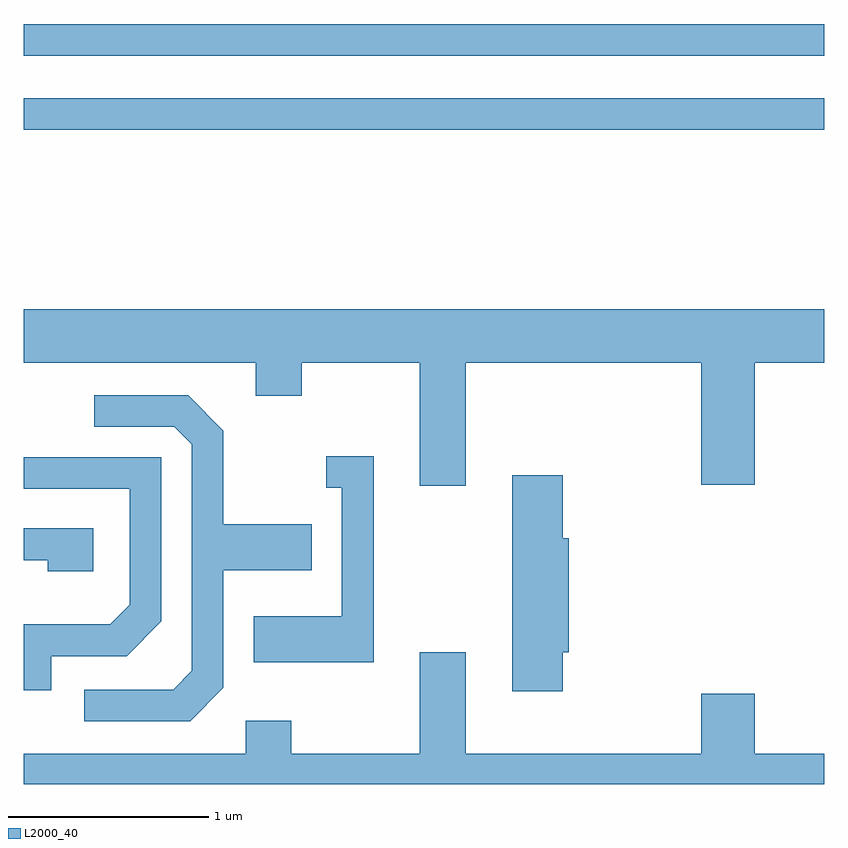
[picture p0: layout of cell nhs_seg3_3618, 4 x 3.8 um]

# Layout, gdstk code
import gdstk
lib = gdstk.Library(unit=1e-6, precision=1e-09)
def R(c, l, rs):  # rectangles x0, y0, x1, y1
    for r in rs: c.add(gdstk.rectangle(r[:2], r[2:], *l))
def P(c, l, *ps):  # polygons
    for p in ps: c.add(gdstk.Polygon(p, *l))
L2000_40 = (2000, 40)

nhs_seg3_3618 = lib.new_cell('nhs_seg3_3618')
R(nhs_seg3_3618, L2000_40, [(291.611,1147.161,295.611,1147.319), (291.611,1147.531,295.611,1147.689)])
P(nhs_seg3_3618, L2000_40, [(293.819,1145.996),(294.996,1145.996),(294.996,1145.386),(295.264,1145.386),(295.264,1145.996),(295.611,1145.996),(295.611,1146.264),(291.611,1146.264),(291.611,1145.996),(292.771,1145.996),(292.771,1145.831),(292.999,1145.831),(292.999,1145.996),(293.591,1145.996),(293.591,1145.381),(293.819,1145.381)],
  [(292.609,1144.374),(292.609,1144.961),(293.049,1144.961),(293.049,1145.189),(292.609,1145.189),(292.609,1145.657),(292.432,1145.834),(291.963,1145.834),(291.963,1145.676),(292.364,1145.676),(292.451,1145.589),(292.451,1144.457),(292.359,1144.364),(291.913,1144.364),(291.913,1144.206),(292.442,1144.206)],
  [(293.359,1145.529),(293.123,1145.529),(293.123,1145.371),(293.201,1145.371),(293.201,1144.729),(292.761,1144.729),(292.761,1144.501),(293.359,1144.501)],
  [(291.749,1144.531),(292.127,1144.531),(292.299,1144.704),(292.299,1145.524),(291.611,1145.524),(291.611,1145.366),(292.141,1145.366),(292.141,1144.787),(292.044,1144.689),(291.611,1144.689),(291.611,1144.361),(291.749,1144.361)],
  [(294.304,1144.551),(294.334,1144.551),(294.334,1145.119),(294.304,1145.119),(294.304,1145.434),(294.051,1145.434),(294.051,1144.356),(294.304,1144.356)],
  [(291.959,1145.169),(291.611,1145.169),(291.611,1145.011),(291.731,1145.011),(291.731,1144.956),(291.959,1144.956)],
  [(295.611,1144.044),(295.264,1144.044),(295.264,1144.344),(294.996,1144.344),(294.996,1144.044),(293.819,1144.044),(293.819,1144.549),(293.591,1144.549),(293.591,1144.044),(292.949,1144.044),(292.949,1144.209),(292.721,1144.209),(292.721,1144.044),(291.611,1144.044),(291.611,1143.892),(295.611,1143.892)])

lib.write_gds('nhs_seg3_3618.gds')
